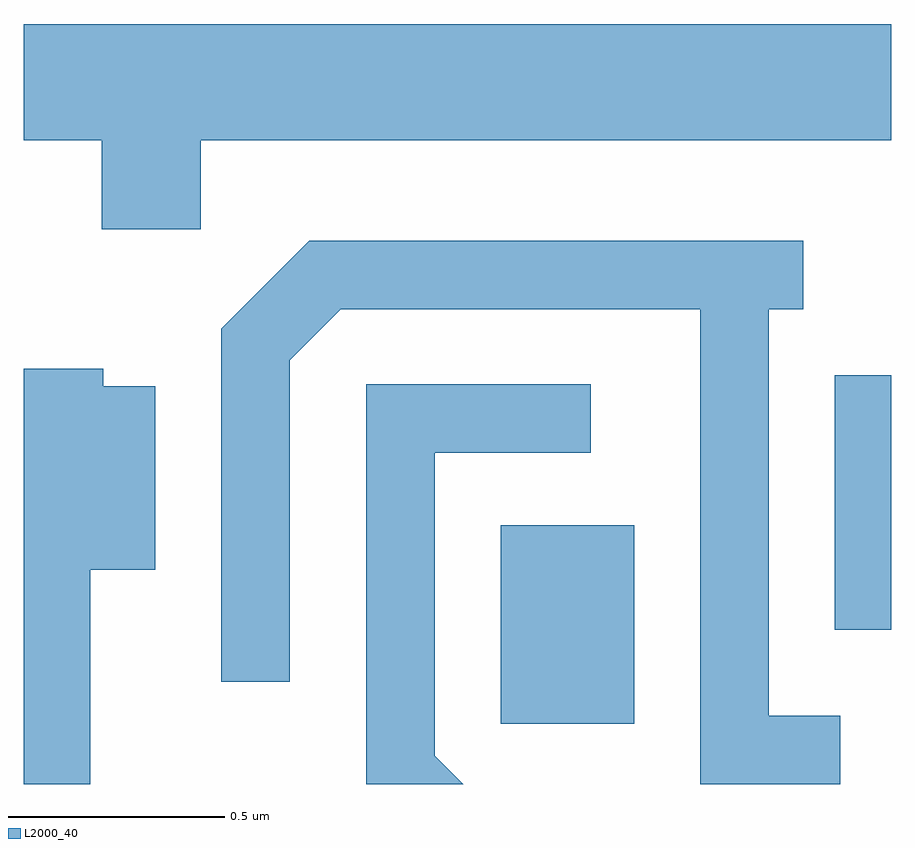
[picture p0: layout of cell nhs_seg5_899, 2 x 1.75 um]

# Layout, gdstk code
import gdstk
lib = gdstk.Library(unit=1e-6, precision=1e-09)
def R(c, l, rs):  # rectangles x0, y0, x1, y1
    for r in rs: c.add(gdstk.rectangle(r[:2], r[2:], *l))
def P(c, l, *ps):  # polygons
    for p in ps: c.add(gdstk.Polygon(p, *l))
L2000_40 = (2000, 40)

nhs_seg5_899 = lib.new_cell('nhs_seg5_899')
R(nhs_seg5_899, L2000_40, [(192.711,1473.211,193.019,1473.669), (193.481,1473.428,193.611,1474.014)])
P(nhs_seg5_899, L2000_40, [(192.019,1474.556),(193.611,1474.556),(193.611,1474.824),(191.611,1474.824),(191.611,1474.556),(191.791,1474.556),(191.791,1474.351),(192.019,1474.351)],
  [(193.493,1473.229),(193.329,1473.229),(193.329,1474.166),(193.408,1474.166),(193.408,1474.324),(192.269,1474.324),(192.066,1474.122),(192.066,1473.308),(192.224,1473.308),(192.224,1474.049),(192.342,1474.166),(193.171,1474.166),(193.171,1473.072),(193.493,1473.072)],
  [(191.764,1473.566),(191.914,1473.566),(191.914,1473.989),(191.794,1473.989),(191.794,1474.029),(191.611,1474.029),(191.611,1473.072),(191.764,1473.072)],
  [(192.559,1473.137),(192.559,1473.836),(192.918,1473.836),(192.918,1473.994),(192.401,1473.994),(192.401,1473.072),(192.624,1473.072)])

lib.write_gds('nhs_seg5_899.gds')
